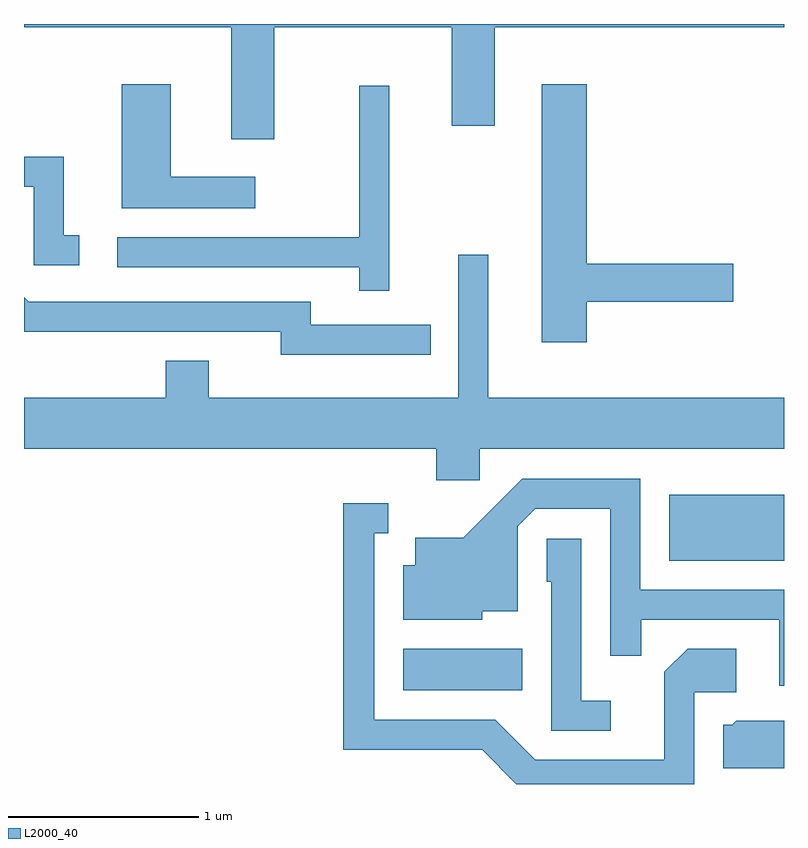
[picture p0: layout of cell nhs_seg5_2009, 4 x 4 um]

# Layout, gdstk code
import gdstk
lib = gdstk.Library(unit=1e-6, precision=1e-09)
def R(c, l, rs):  # rectangles x0, y0, x1, y1
    for r in rs: c.add(gdstk.rectangle(r[:2], r[2:], *l))
def P(c, l, *ps):  # polygons
    for p in ps: c.add(gdstk.Polygon(p, *l))
L2000_40 = (2000, 40)

nhs_seg5_2009 = lib.new_cell('nhs_seg5_2009')
R(nhs_seg5_2009, L2000_40, [(245.606,1526.566,246.234,1526.784), (247.006,1527.246,247.611,1527.594)])
P(nhs_seg5_2009, L2000_40, [(244.929,1530.056),(245.861,1530.056),(245.861,1529.536),(246.089,1529.536),(246.089,1530.056),(247.611,1530.056),(247.611,1530.072),(243.611,1530.072),(243.611,1530.056),(244.701,1530.056),(244.701,1529.466),(244.929,1529.466)],
  [(244.828,1529.269),(244.384,1529.269),(244.384,1529.754),(244.126,1529.754),(244.126,1529.101),(244.828,1529.101)],
  [(246.574,1528.611),(247.344,1528.611),(247.344,1528.809),(246.574,1528.809),(246.574,1529.754),(246.336,1529.754),(246.336,1528.396),(246.574,1528.396)],
  [(245.534,1529.748),(245.376,1529.748),(245.376,1528.949),(244.103,1528.949),(244.103,1528.791),(245.376,1528.791),(245.376,1528.668),(245.534,1528.668)],
  [(243.903,1528.959),(243.819,1528.959),(243.819,1529.374),(243.611,1529.374),(243.611,1529.216),(243.661,1529.216),(243.661,1528.801),(243.903,1528.801)],
  [(246.009,1527.836),(247.611,1527.836),(247.611,1528.104),(246.054,1528.104),(246.054,1528.858),(245.896,1528.858),(245.896,1528.104),(244.584,1528.104),(244.584,1528.299),(244.356,1528.299),(244.356,1528.104),(243.611,1528.104),(243.611,1527.836),(245.781,1527.836),(245.781,1527.671),(246.009,1527.671)],
  [(245.753,1528.489),(245.119,1528.489),(245.119,1528.609),(243.637,1528.609),(243.611,1528.635),(243.611,1528.451),(244.961,1528.451),(244.961,1528.331),(245.753,1528.331)],
  [(247.611,1527.094),(246.854,1527.094),(246.854,1527.679),(246.234,1527.679),(245.924,1527.369),(245.671,1527.369),(245.671,1527.224),(245.606,1527.224),(245.606,1526.936),(246.024,1526.936),(246.024,1526.981),(246.209,1526.981),(246.209,1527.429),(246.302,1527.521),(246.696,1527.521),(246.696,1526.748),(246.859,1526.748),(246.859,1526.936),(247.586,1526.936),(247.586,1526.588),(247.611,1526.588)],
  [(247.139,1526.556),(247.359,1526.556),(247.359,1526.784),(247.104,1526.784),(246.981,1526.662),(246.981,1526.199),(246.302,1526.199),(246.092,1526.409),(245.454,1526.409),(245.454,1527.391),(245.528,1527.391),(245.528,1527.549),(245.291,1527.549),(245.291,1526.251),(246.024,1526.251),(246.203,1526.072),(247.139,1526.072)],
  [(246.698,1526.509),(246.544,1526.509),(246.544,1527.364),(246.361,1527.364),(246.361,1527.136),(246.386,1527.136),(246.386,1526.351),(246.698,1526.351)],
  [(247.611,1526.404),(247.359,1526.404),(247.339,1526.384),(247.291,1526.384),(247.291,1526.156),(247.611,1526.156)])

lib.write_gds('nhs_seg5_2009.gds')
